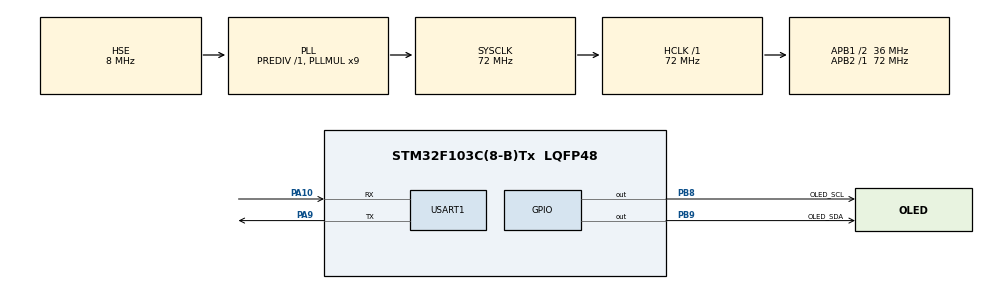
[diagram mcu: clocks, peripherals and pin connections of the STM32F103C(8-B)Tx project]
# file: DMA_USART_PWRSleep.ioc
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Dma.Request0=USART1_RX
Dma.Request1=USART1_TX
Dma.USART1_RX.0.Direction=DMA_PERIPH_TO_MEMORY
Dma.USART1_RX.0.Instance=DMA1_Channel5
Dma.USART1_RX.0.MemDataAlignment=DMA_MDATAALIGN_BYTE
Dma.USART1_RX.0.MemInc=DMA_MINC_ENABLE
Dma.USART1_RX.0.Mode=DMA_CIRCULAR
Dma.USART1_RX.0.PeriphDataAlignment=DMA_PDATAALIGN_BYTE
Dma.USART1_RX.0.PeriphInc=DMA_PINC_DISABLE
Dma.USART1_RX.0.Priority=DMA_PRIORITY_LOW
Dma.USART1_TX.1.Direction=DMA_MEMORY_TO_PERIPH
Dma.USART1_TX.1.Instance=DMA1_Channel4
Dma.USART1_TX.1.MemDataAlignment=DMA_MDATAALIGN_BYTE
Dma.USART1_TX.1.MemInc=DMA_MINC_ENABLE
Dma.USART1_TX.1.Mode=DMA_NORMAL
Dma.USART1_TX.1.PeriphDataAlignment=DMA_PDATAALIGN_BYTE
Dma.USART1_TX.1.PeriphInc=DMA_PINC_DISABLE
Dma.USART1_TX.1.Priority=DMA_PRIORITY_LOW
Mcu.Family=STM32F1
Mcu.Name=STM32F103C(8-B)Tx
Mcu.Package=LQFP48
NVIC.DMA1_Channel4_IRQn=true\:0\:0\:false\:false\:true\:false\:true\:true
NVIC.DMA1_Channel5_IRQn=true\:0\:0\:false\:false\:true\:false\:true\:true
NVIC.PriorityGroup=NVIC_PRIORITYGROUP_4
NVIC.USART1_IRQn=true\:0\:0\:false\:false\:true\:true\:true\:true
PA10.Mode=Asynchronous
PA10.Signal=USART1_RX
PA13.Mode=Serial_Wire
PA13.Signal=SYS_JTMS-SWDIO
PA14.Mode=Serial_Wire
PA14.Signal=SYS_JTCK-SWCLK
PA9.Mode=Asynchronous
PA9.Signal=USART1_TX
PB8.GPIO_Label=OLED_SCL
PB8.GPIO_ModeDefaultOutputPP=GPIO_MODE_OUTPUT_OD
PB8.GPIO_PuPd=GPIO_NOPULL
PB8.Signal=GPIO_Output
PB9.GPIO_Label=OLED_SDA
PB9.GPIO_ModeDefaultOutputPP=GPIO_MODE_OUTPUT_OD
PB9.GPIO_PuPd=GPIO_NOPULL
PB9.Signal=GPIO_Output
PD0-OSC_IN.Mode=HSE-External-Oscillator
PD0-OSC_IN.Signal=RCC_OSC_IN
PD1-OSC_OUT.Mode=HSE-External-Oscillator
PD1-OSC_OUT.Signal=RCC_OSC_OUT
ProjectManager.HeapSize=0x200
ProjectManager.StackSize=0x400
ProjectManager.TargetToolchain=CMake
RCC.AHBFreq_Value=72000000
RCC.APB1CLKDivider=RCC_HCLK_DIV2
RCC.APB1Freq_Value=36000000
RCC.APB1TimFreq_Value=72000000
RCC.APB2Freq_Value=72000000
RCC.APB2TimFreq_Value=72000000
RCC.HCLKFreq_Value=72000000
RCC.PLLMUL=RCC_PLL_MUL9
RCC.PLLSourceVirtual=RCC_PLLSOURCE_HSE
RCC.SYSCLKFreq_VALUE=72000000
RCC.SYSCLKSource=RCC_SYSCLKSOURCE_PLLCLK
RCC.USBFreq_Value=72000000
USART1.VirtualMode=VM_ASYNC
board=custom

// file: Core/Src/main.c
/* USER CODE BEGIN Header */
/**
  ******************************************************************************
  * @file           : main.c
  * @brief          : Main program body
  ******************************************************************************
  * @attention
  *
  * Copyright (c) 2026 STMicroelectronics.
  * All rights reserved.
  *
  * This software is licensed under terms that can be found in the LICENSE file
  * in the root directory of this software component.
  * If no LICENSE file comes with this software, it is provided AS-IS.
  *
  ******************************************************************************
  */
/* USER CODE END Header */
#include "main.h"
#include "dma.h"
#include "usart.h"
#include "gpio.h"

/* USER CODE BEGIN Includes */
#include <string.h>

#include "OLED.h"
/* USER CODE END Includes */

/* USER CODE BEGIN PV */
#define RX_BUF_SIZE 128
uint8_t rx_buffer[RX_BUF_SIZE];
uint8_t process_buffer[RX_BUF_SIZE]; // 新增：用来存放“捋直”后的数据，方便OLED显示

volatile uint8_t data_ready_flag = 0;
volatile uint16_t current_rx_len = 0; // 本次实际收到的长度
uint16_t old_pos = 0; // 记录上次 DMA 写到的位置
/* USER CODE END PV */

void SystemClock_Config(void);

/* USER CODE BEGIN PFP */
void Delay(uint32_t nTime) {
  for (volatile uint8_t i = 0; i < 1 * nTime; i++) {
    __NOP();
  }
}

void HAL_UARTEx_RxEventCallback(UART_HandleTypeDef *huart, uint16_t Size) {
  if (huart->Instance == USART1) {
    // 这是惯例
    uint16_t new_pos = Size; // Size 就是当前 DMA 的新写入位置

    // 没有发生回绕，数据是连续的
    if (new_pos > old_pos) {
      current_rx_len = new_pos - old_pos;
      // 直接把这一段连续的数据拷贝到处理区
      memcpy(process_buffer, &rx_buffer[old_pos], current_rx_len);
    }
    // 发生了回绕，数据被截断成了两段
    else if (new_pos < old_pos) {
      uint16_t part1_len = RX_BUF_SIZE - old_pos; // 尾部的一段
      uint16_t part2_len = new_pos; // 头部的一段
      current_rx_len = part1_len + part2_len;

      // 分两次拷贝，把两段数据拼接到一起
      memcpy(&process_buffer[0], &rx_buffer[old_pos], part1_len);
      memcpy(&process_buffer[part1_len], rx_buffer, part2_len);
    }
    // 更新历史位置，为下一次接收做准备
    old_pos = new_pos;
    // 告诉 main 函数有新数据了
    data_ready_flag = 1;
    // 回显数据：直接发送我们刚刚提取好的 process_buffer
    HAL_UART_Transmit_DMA(huart, process_buffer, current_rx_len);
  }
}

/* USER CODE END PFP */

int main(void) {
  HAL_Init();
  SystemClock_Config();
  MX_GPIO_Init();
  MX_DMA_Init();
  MX_USART1_UART_Init();
  OLED_Init();

  // 开启串口空闲中断 + DMA 接收
  HAL_UARTEx_ReceiveToIdle_DMA(&huart1, rx_buffer, RX_BUF_SIZE);

  // 移到循环外面，只在最开始和处理完数据后打印，防止被 SysTick 唤醒后狂刷
  OLED_ShowString(2, 1, "Waiting for data");

  while (1) {
    if (data_ready_flag == 1) {
      // 1. 清理一下标志位
      data_ready_flag = 0;

      // 2. 清除 OLED 上的上一条信息 (你自己写好的那些提示)
      OLED_ShowString(1, 1, "                ");

      // 3. 打印最新收到的数据 (直接用 current_rx_len 和 process_buffer)
      for (uint8_t i = 0; i < current_rx_len; i++) {
        // 注意：如果收到的数据超出了 OLED 一行的显示范围，这里要做换行处理，
        // 为了简单，我们先假设它不会超过 16 个字符
        if (i < 16) {
          OLED_ShowChar(1, i + 1, process_buffer[i]);
        }
      }

      HAL_Delay(500); // 延时一下方便观察
    }

    // 继续睡觉，等待下一次空闲中断唤醒
    HAL_PWR_EnterSLEEPMode(PWR_MAINREGULATOR_ON, PWR_SLEEPENTRY_WFI);
  }
}

void SystemClock_Config(void) {
  RCC_OscInitTypeDef RCC_OscInitStruct = {0};
  RCC_ClkInitTypeDef RCC_ClkInitStruct = {0};

  /** Initializes the RCC Oscillators according to the specified parameters
  * in the RCC_OscInitTypeDef structure.
  */
  RCC_OscInitStruct.OscillatorType = RCC_OSCILLATORTYPE_HSE;
  RCC_OscInitStruct.HSEState = RCC_HSE_ON;
  RCC_OscInitStruct.HSEPredivValue = RCC_HSE_PREDIV_DIV1;
  RCC_OscInitStruct.HSIState = RCC_HSI_ON;
  RCC_OscInitStruct.PLL.PLLState = RCC_PLL_ON;
  RCC_OscInitStruct.PLL.PLLSource = RCC_PLLSOURCE_HSE;
  RCC_OscInitStruct.PLL.PLLMUL = RCC_PLL_MUL9;
  if (HAL_RCC_OscConfig(&RCC_OscInitStruct) != HAL_OK) {
    Error_Handler();
  }

  /** Initializes the CPU, AHB and APB buses clocks
  */
  RCC_ClkInitStruct.ClockType = RCC_CLOCKTYPE_HCLK | RCC_CLOCKTYPE_SYSCLK
                                | RCC_CLOCKTYPE_PCLK1 | RCC_CLOCKTYPE_PCLK2;
  RCC_ClkInitStruct.SYSCLKSource = RCC_SYSCLKSOURCE_PLLCLK;
  RCC_ClkInitStruct.AHBCLKDivider = RCC_SYSCLK_DIV1;
  RCC_ClkInitStruct.APB1CLKDivider = RCC_HCLK_DIV2;
  RCC_ClkInitStruct.APB2CLKDivider = RCC_HCLK_DIV1;

  if (HAL_RCC_ClockConfig(&RCC_ClkInitStruct, FLASH_LATENCY_2) != HAL_OK) {
    Error_Handler();
  }
}

void Error_Handler(void) {
  __disable_irq();
  while (1) {
  }
}
